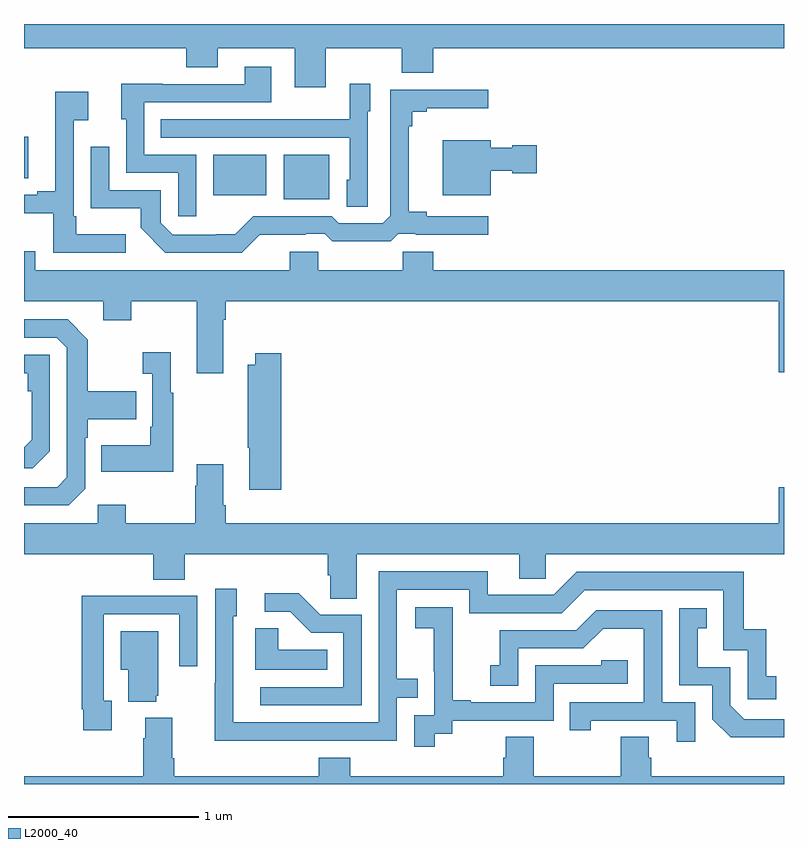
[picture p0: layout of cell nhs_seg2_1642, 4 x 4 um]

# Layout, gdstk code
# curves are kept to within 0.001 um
import gdstk
lib = gdstk.Library(unit=1e-6, precision=1e-09)
def R(c, l, rs):  # rectangles x0, y0, x1, y1
    for r in rs: c.add(gdstk.rectangle(r[:2], r[2:], *l))
def P(c, l, *ps):  # polygons
    for p in ps: c.add(gdstk.Polygon(p, *l))
L2000_40 = (2000, 40)

nhs_seg2_1642 = lib.new_cell('nhs_seg2_1642')
R(nhs_seg2_1642, L2000_40, [(198.368,610.877,198.607,611.113), (197.996,610.898,198.274,611.113), (197,610.987,197.023,611.206)])
P(nhs_seg2_1642, L2000_40, [(198.589,611.672),(198.989,611.672),(198.989,611.544),(199.153,611.544),(199.153,611.672),(201,611.672),(201,611.8),(197,611.8),(197,611.672),(197.855,611.672),(197.855,611.573),(198.019,611.573),(198.019,611.672),(198.425,611.672),(198.425,611.466),(198.589,611.466)],
  [(197.907,611.112),(197.634,611.112),(197.634,611.388),(198.301,611.388),(198.301,611.575),(198.161,611.575),(198.161,611.484),(197.731,611.484),(197.731,611.486),(197.513,611.486),(197.513,611.298),(197.538,611.298),(197.538,611.016),(197.811,611.016),(197.811,610.788),(197.907,610.788)],
  [(198.81,611.34),(198.823,611.34),(198.823,611.485),(198.714,611.485),(198.714,611.299),(198.397,611.299),(198.397,611.298),(197.719,611.298),(197.719,611.202),(198.714,611.202),(198.714,610.98),(198.698,610.98),(198.698,610.837),(198.81,610.837)],
  [(198.242,610.691),(198.482,610.691),(198.482,610.695),(198.582,610.695),(198.622,610.656),(198.929,610.656),(198.969,610.695),(199.063,610.695),(199.063,610.691),(199.444,610.691),(199.444,610.788),(199.12,610.788),(199.12,610.811),(199.025,610.811),(199.025,611.261),(199.043,611.261),(199.043,611.338),(199.12,611.338),(199.12,611.357),(199.444,611.357),(199.444,611.454),(198.927,611.454),(198.927,610.791),(198.888,610.752),(198.657,610.752),(198.621,610.788),(198.207,610.788),(198.113,610.694),(198.008,610.694),(198.008,610.692),(197.784,610.692),(197.721,610.755),(197.721,610.926),(197.448,610.926),(197.448,611.155),(197.352,611.155),(197.352,610.829),(197.614,610.829),(197.614,610.727),(197.744,610.596),(198.147,610.596)],
  [(197.536,610.693),(197.275,610.693),(197.275,610.789),(197.262,610.789),(197.262,611.294),(197.338,611.294),(197.338,611.443),(197.165,611.443),(197.165,610.921),(197.069,610.921),(197.069,610.902),(197,610.902),(197,610.805),(197.154,610.805),(197.154,610.596),(197.536,610.596)],
  [(199.456,611.027),(199.569,611.027),(199.569,611.015),(199.699,611.015),(199.699,611.162),(199.569,611.162),(199.569,611.149),(199.456,611.149),(199.456,611.188),(199.205,611.188),(199.205,610.898),(199.456,610.898)],
  [(198.049,610.244),(198.062,610.244),(198.062,610.34),(200.972,610.34),(200.972,609.966),(201,609.966),(201,610.504),(199.154,610.504),(199.154,610.602),(198.994,610.602),(198.994,610.504),(198.549,610.504),(198.549,610.602),(198.398,610.602),(198.398,610.504),(197.059,610.504),(197.059,610.603),(197,610.603),(197,610.34),(197.417,610.34),(197.417,610.241),(197.565,610.241),(197.565,610.34),(197.909,610.34),(197.909,609.963),(198.049,609.963)],
  [(197.322,609.354),(197.322,609.623),(197.335,609.623),(197.335,609.719),(197.591,609.719),(197.591,609.867),(197.335,609.867),(197.335,610.139),(197.229,610.245),(197,610.245),(197,610.149),(197.172,610.149),(197.226,610.095),(197.226,609.414),(197.175,609.363),(197,609.363),(197,609.267),(197.235,609.267)],
  [(197.785,609.859),(197.773,609.859),(197.773,610.072),(197.625,610.072),(197.625,609.959),(197.676,609.959),(197.676,609.679),(197.664,609.679),(197.664,609.583),(197.407,609.583),(197.407,609.443),(197.785,609.443)],
  [(198.353,610.066),(198.218,610.066),(198.218,610.006),(198.178,610.006),(198.178,609.571),(198.185,609.571),(198.185,609.348),(198.353,609.348)],
  [(197.136,609.552),(197.136,610.059),(197,610.059),(197,609.963),(197.02,609.963),(197.02,609.866),(197.04,609.866),(197.04,609.612),(197,609.572),(197,609.462),(197.046,609.462)],
  [(198.751,609.008),(199.607,609.008),(199.607,608.881),(199.746,608.881),(199.746,609.008),(201,609.008),(201,609.361),(200.972,609.361),(200.972,609.172),(198.062,609.172),(198.062,609.268),(198.049,609.268),(198.049,609.484),(197.909,609.484),(197.909,609.371),(197.902,609.371),(197.902,609.172),(197.535,609.172),(197.535,609.271),(197.388,609.271),(197.388,609.172),(197,609.172),(197,609.008),(197.681,609.008),(197.681,608.875),(197.846,608.875),(197.846,609.008),(198.599,609.008),(198.599,608.899),(198.612,608.899),(198.612,608.776),(198.751,608.776)],
  [(198.467,608.028),(198.963,608.028),(198.963,608.253),(199.073,608.253),(199.073,608.354),(198.963,608.354),(198.963,608.823),(199.344,608.823),(199.344,608.7),(199.83,608.7),(199.95,608.82),(200.679,608.82),(200.679,608.505),(200.808,608.505),(200.808,608.247),(200.959,608.247),(200.959,608.367),(200.906,608.367),(200.906,608.614),(200.788,608.614),(200.788,608.916),(199.908,608.916),(199.788,608.796),(199.441,608.796),(199.441,608.919),(198.867,608.919),(198.867,608.124),(198.102,608.124),(198.102,608.682),(198.121,608.682),(198.121,608.827),(198.006,608.827),(198.006,608.333),(198.004,608.333),(198.004,608.027)],
  [(198.777,608.691),(198.558,608.691),(198.445,608.804),(198.267,608.804),(198.267,608.706),(198.401,608.706),(198.512,608.595),(198.681,608.595),(198.681,608.31),(198.243,608.31),(198.243,608.214),(198.777,608.214)],
  [(197.461,608.238),(197.421,608.238),(197.421,608.694),(197.817,608.694),(197.817,608.421),(197.913,608.421),(197.913,608.79),(197.597,608.79),(197.597,608.792),(197.305,608.792),(197.305,608.194),(197.313,608.194),(197.313,608.082),(197.461,608.082)],
  [(199.162,608.065),(199.254,608.065),(199.254,608.133),(199.788,608.133),(199.788,608.328),(200.177,608.328),(200.177,608.451),(200.037,608.451),(200.037,608.424),(199.692,608.424),(199.692,608.229),(199.351,608.229),(199.351,608.242),(199.256,608.242),(199.256,608.525),(199.257,608.525),(199.257,608.731),(199.059,608.731),(199.059,608.621),(199.157,608.621),(199.157,608.393),(199.158,608.393),(199.158,608.163),(199.053,608.163),(199.053,607.995),(199.162,607.995)],
  [(201,608.142),(200.79,608.142),(200.718,608.214),(200.718,608.415),(200.545,608.415),(200.545,608.619),(200.594,608.619),(200.594,608.725),(200.448,608.725),(200.448,608.319),(200.622,608.319),(200.622,608.142),(200.72,608.045),(201,608.045)],
  [(200.532,608.229),(200.358,608.229),(200.358,608.715),(200.012,608.715),(199.907,608.61),(199.504,608.61),(199.504,608.425),(199.455,608.425),(199.455,608.316),(199.602,608.316),(199.602,608.514),(199.944,608.514),(200.048,608.618),(200.262,608.618),(200.262,608.229),(199.873,608.229),(199.873,608.082),(199.984,608.082),(199.984,608.133),(200.435,608.133),(200.435,608.022),(200.532,608.022)],
  [(198.596,608.506),(198.339,608.506),(198.339,608.621),(198.218,608.621),(198.218,608.402),(198.596,608.402)],
  [(197.696,608.265),(197.707,608.265),(197.707,608.605),(197.51,608.605),(197.51,608.402),(197.549,608.402),(197.549,608.234),(197.696,608.234)],
  [(201,607.84),(200.3,607.84),(200.3,607.938),(200.287,607.938),(200.287,608.048),(200.14,608.048),(200.14,607.84),(199.683,607.84),(199.683,608.048),(199.535,608.048),(199.535,607.938),(199.523,607.938),(199.523,607.84),(198.716,607.84),(198.716,607.939),(198.551,607.939),(198.551,607.84),(197.792,607.84),(197.792,607.936),(197.779,607.936),(197.779,608.149),(197.639,608.149),(197.639,608.042),(197.627,608.042),(197.627,607.84),(197,607.84),(197,607.8),(201,607.8)])

lib.write_gds('nhs_seg2_1642.gds')
